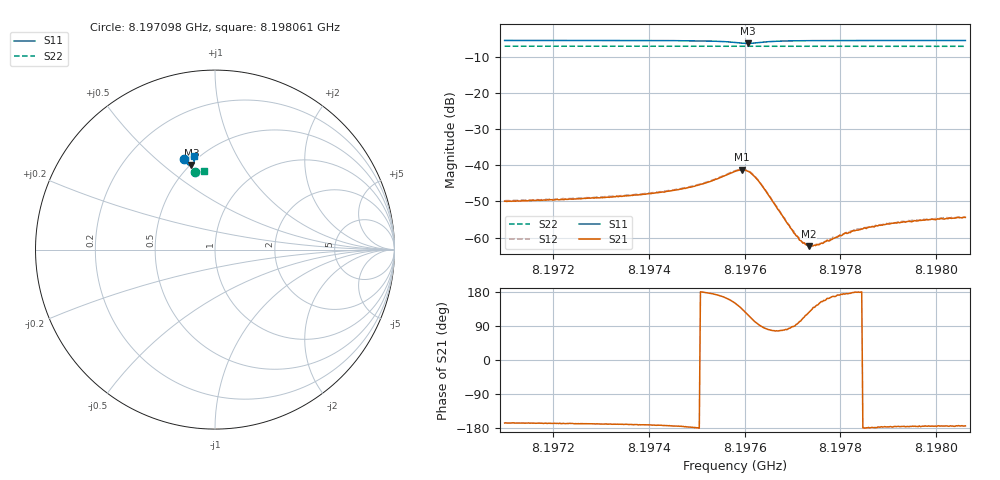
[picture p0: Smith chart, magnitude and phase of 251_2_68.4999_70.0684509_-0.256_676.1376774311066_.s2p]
#  HZ  S  RI  R  50.00
! Rohde & Schwarz Vector Network Analyzer
! Rohde-Schwarz,ZNB20-2Port,1311601062101988,3.16
! Created: UTC 3/20/2024, 5:14:58 PM
! freq[Hz]  re:S11  im:S11  re:S21  im:S21  re:S12  im:S12  re:S22  im:S22
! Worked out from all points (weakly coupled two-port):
!   401 points, 8.197098 GHz to 8.198061 GHz, reference 50 ohm
!   highest |S21| = -41.25 dB at 8.197594 GHz (marker M1); lowest = -62.4 dB at 8.197734 GHz (marker M2)
!   lowest |S11| = -6.2 dB at 8.197606 GHz (marker M3), VSWR 2.90, Z = 25.4 + j31.3 ohm
!   |S11| at or under -10 dB: nowhere
!   |S22| runs from -7.1 to -7.0 dB; largest |S21 - S12| = 0.00042
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8.1970982e9  -0.1741 0.5067  -0.00309 -0.000753  -0.00315 -0.000664  -0.1129 0.4316
8.1972595e9  -0.1614 0.5103  -0.00339 -0.00072  -0.00349 -0.00059  -0.1041 0.4335
8.1973389e9  -0.1543 0.5118  -0.00368 -0.000688  -0.00375 -0.000546  -0.0995 0.4343
8.1974208e9  -0.1458 0.513  -0.00416 -0.000584  -0.00428 -0.000378  -0.0949 0.4353
8.1975026e9  -0.1333 0.5121  -0.0053 -9.53e-05  -0.00541 0.000168  -0.0903 0.4359
8.1975387e9  -0.1246 0.5078  -0.00633 0.000785  -0.00638 0.00104  -0.088 0.4361
8.1975796e9  -0.1159 0.4887  -0.00715 0.00409  -0.00713 0.00448  -0.0857 0.4359
8.1975941e9  -0.1209 0.4768  -0.00611 0.00614  -0.00596 0.00648  -0.0851 0.4357
8.1976061e9  -0.1319 0.4697  -0.0041 0.00722  -0.00385 0.00751  -0.0846 0.4357
8.1976182e9  -0.1448 0.4705  -0.00182 0.00702  -0.00155 0.00723  -0.0844 0.4358
8.1976326e9  -0.1552 0.479  -3.02e-05 0.00562  0.000234 0.00572  -0.084 0.4363
8.1977096e9  -0.1505 0.5085  -9.41e-05 0.00104  -4.81e-05 0.00103  -0.0795 0.4377
8.1977193e9  -0.149 0.5097  -0.000252 0.000833  -0.000225 0.000897  -0.0789 0.4378
8.1977265e9  -0.148 0.5106  -0.00037 0.000719  -0.000332 0.000755  -0.0785 0.4378
8.1977337e9  -0.147 0.5114  -0.000432 0.000626  -0.000451 0.000664  -0.0781 0.4379
8.1977409e9  -0.1459 0.512  -0.000533 0.000546  -0.000526 0.000578  -0.0778 0.438
8.1977578e9  -0.1439 0.5134  -0.000719 0.000384  -0.000722 0.000421  -0.0767 0.4382
8.1978084e9  -0.138 0.516  -0.00113 0.000119  -0.00112 0.000145  -0.0739 0.4386
8.1978324e9  -0.1355 0.517  -0.00126 2e-05  -0.00126 7.24e-05  -0.0723 0.4387
8.1979022e9  -0.1291 0.5191  -0.00154 -9.7e-05  -0.00159 -5.75e-05  -0.0684 0.4394
8.198013e9  -0.1198 0.5214  -0.00181 -0.000179  -0.00186 -0.000116  -0.0621 0.4401
8.1980611e9  -0.116 0.5224  -0.00189 -0.000203  -0.00195 -0.000138  -0.0595 0.4405
